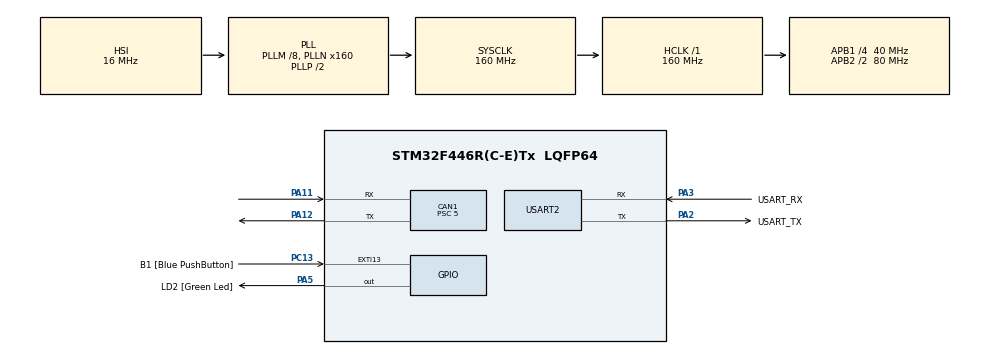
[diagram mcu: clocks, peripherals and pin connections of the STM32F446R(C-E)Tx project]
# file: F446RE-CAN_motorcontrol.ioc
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CAN1.BS1=CAN_BS1_5TQ
CAN1.BS2=CAN_BS2_2TQ
CAN1.CalculateBaudRate=1000000
CAN1.CalculateTimeBit=1000
CAN1.CalculateTimeQuantum=125.0
CAN1.Prescaler=5
Mcu.Family=STM32F4
Mcu.Name=STM32F446R(C-E)Tx
Mcu.Package=LQFP64
NVIC.CAN1_RX0_IRQn=true\:0\:0\:false\:false\:true\:true\:true\:true
NVIC.EXTI15_10_IRQn=true\:0\:0\:false\:false\:true\:true\:true\:true
NVIC.PriorityGroup=NVIC_PRIORITYGROUP_0
PA11.Mode=CAN_Activate
PA11.Signal=CAN1_RX
PA12.Mode=CAN_Activate
PA12.Signal=CAN1_TX
PA13.GPIO_Label=TMS
PA13.Mode=Serial_Wire
PA13.Signal=SYS_JTMS-SWDIO
PA14.GPIO_Label=TCK
PA14.Mode=Serial_Wire
PA14.Signal=SYS_JTCK-SWCLK
PA2.GPIO_Label=USART_TX
PA2.Mode=Asynchronous
PA2.Signal=USART2_TX
PA3.GPIO_Label=USART_RX
PA3.Mode=Asynchronous
PA3.Signal=USART2_RX
PA5.GPIO_Label=LD2 [Green Led]
PA5.Signal=GPIO_Output
PB3.GPIO_Label=SWO
PB3.Signal=SYS_JTDO-SWO
PC13.GPIO_Label=B1 [Blue PushButton]
PC13.GPIO_ModeDefaultEXTI=GPIO_MODE_IT_FALLING
PC13.Signal=GPXTI13
PC14-OSC32_IN.Mode=LSE-External-Oscillator
PC14-OSC32_IN.Signal=RCC_OSC32_IN
PC15-OSC32_OUT.Mode=LSE-External-Oscillator
PC15-OSC32_OUT.Signal=RCC_OSC32_OUT
PH0-OSC_IN.Mode=HSE-External-Oscillator
PH0-OSC_IN.Signal=RCC_OSC_IN
PH1-OSC_OUT.Mode=HSE-External-Oscillator
PH1-OSC_OUT.Signal=RCC_OSC_OUT
ProjectManager.HeapSize=0x200
ProjectManager.StackSize=0x400
ProjectManager.TargetToolchain=STM32CubeIDE
RCC.48MHZClocksFreq_Value=84000000
RCC.AHBFreq_Value=160000000
RCC.APB1CLKDivider=RCC_HCLK_DIV4
RCC.APB1Freq_Value=40000000
RCC.APB1TimFreq_Value=80000000
RCC.APB2CLKDivider=RCC_HCLK_DIV2
RCC.APB2Freq_Value=80000000
RCC.APB2TimFreq_Value=160000000
RCC.CortexFreq_Value=160000000
RCC.FLatency-AdvancedSettings=FLASH_LATENCY_5
RCC.HCLKFreq_Value=160000000
RCC.HSE_VALUE=8000000
RCC.HSI_VALUE=16000000
RCC.PLLM=8
RCC.PLLN=160
RCC.SYSCLKFreq_VALUE=160000000
RCC.SYSCLKSource=RCC_SYSCLKSOURCE_PLLCLK
RCC.USBFreq_Value=160000000
RCC.VCOOutputFreq_Value=320000000
USART2.VirtualMode=VM_ASYNC
board=NUCLEO-F446RE

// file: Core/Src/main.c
 /* USER CODE BEGIN Header */
/**
  ******************************************************************************
  * @file           : main.c
  * @brief          : Main program body
  ******************************************************************************
  * @attention
  *
  * Copyright (c) 2024 STMicroelectronics.
  * All rights reserved.
  *
  * This software is licensed under terms that can be found in the LICENSE file
  * in the root directory of this software component.
  * If no LICENSE file comes with this software, it is provided AS-IS.
  *
  ******************************************************************************
  */
/* USER CODE END Header */
#include "main.h"

/* USER CODE BEGIN PD */
#define CW 0x00
#define CCW 0x01
/* USER CODE END PD */

CAN_HandleTypeDef hcan1;

UART_HandleTypeDef huart2;

void SystemClock_Config(void);
static void MX_GPIO_Init(void);
static void MX_USART2_UART_Init(void);
static void MX_CAN1_Init(void);

/* USER CODE BEGIN 0 */

//CAN variables
CAN_RxHeaderTypeDef canRxHeader;
CAN_TxHeaderTypeDef canTxHeader;
CAN_FilterTypeDef canFilter1;
uint32_t TxMailBox;
uint8_t can1Rx0Data[8];
uint8_t can1Tx0Data[8];

uint8_t datacheck = 0;
uint8_t mode = 0;

//position, speed, torque, temperature variables
int16_t iqControl;  //closed loop torque
int32_t speedControl; //closed loop speed-0.01dps/LSB
uint8_t spinDirection; //cw(0x00), ccw(0x01)
uint32_t angleControl; //single loop angle control
int32_t multiAngleControl; // multi loop angle control

void torque_closedloop_control(uint8_t id, int32_t iqControl){
	canTxHeader.StdId = 0x140 + id;
	can1Tx0Data[0] = 0xA1;
	can1Tx0Data[1] = 0x00;
	can1Tx0Data[2] = 0x00;
	can1Tx0Data[3] = 0x00;
	can1Tx0Data[4] = *(uint8_t *)(&iqControl);
	can1Tx0Data[5] = *((uint8_t *)(&iqControl) + 1);
	can1Tx0Data[6] = 0x00;
	can1Tx0Data[7] = 0x00;
	HAL_CAN_AddTxMessage(&hcan1, &canTxHeader, can1Tx0Data, &TxMailBox);
}

void speed_closedloop_control(uint8_t id, int32_t speedControl){
	canTxHeader.StdId = 0x140 + id;
	can1Tx0Data[0] = 0xA2;
	can1Tx0Data[1] = 0x00;
	can1Tx0Data[2] = 0x00;
	can1Tx0Data[3] = 0x00;
	can1Tx0Data[4] = *(uint8_t *)(&speedControl);
	can1Tx0Data[5] = *((uint8_t *)(&speedControl) + 1);
	can1Tx0Data[6] = *((uint8_t *)(&speedControl) + 2);
	can1Tx0Data[7] = *((uint8_t *)(&speedControl) + 3);
	HAL_CAN_AddTxMessage(&hcan1, &canTxHeader, can1Tx0Data, &TxMailBox);
}

void singleloop_angle_control(uint8_t id, int32_t speedControl){
	canTxHeader.StdId = 0x140 + id;
	can1Tx0Data[0] = 0xA5;
	can1Tx0Data[1] = spinDirection;
	can1Tx0Data[2] = 0x00;
	can1Tx0Data[3] = 0x00;
	can1Tx0Data[4] = *(uint8_t *)(&angleControl);
	can1Tx0Data[5] = *((uint8_t *)(&angleControl) + 1);
	can1Tx0Data[6] = *((uint8_t *)(&angleControl) + 2);
	can1Tx0Data[7] = *((uint8_t *)(&angleControl) + 3);
	HAL_CAN_AddTxMessage(&hcan1, &canTxHeader, can1Tx0Data, &TxMailBox);
}

void singleloop_angle_read(uint8_t id, int32_t speedControl){
	canTxHeader.StdId = 0x140 + id;
	can1Tx0Data[0] = 0x94;
	can1Tx0Data[1] = 0x00;
	can1Tx0Data[2] = 0x00;
	can1Tx0Data[3] = 0x00;
	can1Tx0Data[4] = 0x00;
	can1Tx0Data[5] = 0x00;
	can1Tx0Data[6] = 0x00;
	can1Tx0Data[7] = 0x00;
	HAL_CAN_AddTxMessage(&hcan1, &canTxHeader, can1Tx0Data, &TxMailBox);
}

void multiloop_angle_control(uint8_t id, int32_t speedControl){
	canTxHeader.StdId = 0x140 + id;
	can1Tx0Data[0] = 0xA3;
	can1Tx0Data[1] = 0x00;
	can1Tx0Data[2] = 0x00;
	can1Tx0Data[3] = 0x00;
	can1Tx0Data[4] = *(uint8_t *)(&multiAngleControl);
	can1Tx0Data[5] = *((uint8_t *)(&multiAngleControl) + 1);
	can1Tx0Data[6] = *((uint8_t *)(&multiAngleControl) + 2);
	can1Tx0Data[7] = *((uint8_t *)(&multiAngleControl) + 3);
	HAL_CAN_AddTxMessage(&hcan1, &canTxHeader, can1Tx0Data, &TxMailBox);
}

void multiloop_angle_read(uint8_t id, int32_t speedControl){
	canTxHeader.StdId = 0x140 + id;
	can1Tx0Data[0] = 0x92;
	can1Tx0Data[1] = 0x00;
	can1Tx0Data[2] = 0x00;
	can1Tx0Data[3] = 0x00;
	can1Tx0Data[4] = 0x00;
	can1Tx0Data[5] = 0x00;
	can1Tx0Data[6] = 0x00;
	can1Tx0Data[7] = 0x00;
	HAL_CAN_AddTxMessage(&hcan1, &canTxHeader, can1Tx0Data, &TxMailBox);
}

void HAL_GPIO_EXTI_Callback(uint16_t GPIO_Pin){

	if(GPIO_Pin == B1_Pin){

		//change mode whether button is pressed 0->1->2 cyclic
		mode++;
		if (mode == 3){
			mode = 0;
		}

		if(mode%3 == 0){
			speed_closedloop_control(1, 0);
			//speed_closedloop_control(2, 0);
		}
		if(mode%3 == 1){
			speed_closedloop_control(1, 72000);
			//speed_closedloop_control(2, 0);
		}
		if(mode%3 == 2){
			speed_closedloop_control(1, 0);
			//speed_closedloop_control(2, 72000);
		}
	}
}

void HAL_CAN_RxFifo0MsgPendingCallback(CAN_HandleTypeDef *hcan)
{
	HAL_CAN_GetRxMessage(hcan, CAN_RX_FIFO0, &canRxHeader, can1Rx0Data);
	datacheck = 1;
}

/* USER CODE END 0 */

int main(void)
{

  /* MCU Configuration--------------------------------------------------------*/

  /* Reset of all peripherals, Initializes the Flash interface and the Systick. */
  HAL_Init();

  /* Configure the system clock */
  SystemClock_Config();

  /* Initialize all configured peripherals */
  MX_GPIO_Init();
  MX_USART2_UART_Init();
  MX_CAN1_Init();
  /* USER CODE BEGIN 2 */
  HAL_CAN_Start(&hcan1);  //start CAN

  HAL_CAN_ActivateNotification(&hcan1, CAN_IT_RX_FIFO0_MSG_PENDING); //activate notification for when FIFO 0 is pending

  canTxHeader.DLC = 8;  //Length of data
  canTxHeader.IDE = CAN_ID_STD; //standard id, as opposed to extended
  canTxHeader.RTR = CAN_RTR_DATA;
  canTxHeader.StdId = 0x140; //0x140+ ID(1~32)

  /* USER CODE END 2 */

  /* Infinite loop */
  while (1)
  {

    /* USER CODE BEGIN 3 */

	  // if message is received
	  if (datacheck){
		  //blink led
		  HAL_GPIO_WritePin(LD2_GPIO_Port, LD2_Pin, 1);
		  HAL_Delay(50);
		  HAL_GPIO_WritePin(LD2_GPIO_Port, LD2_Pin, 0);

		  //reconstruct encoder value
		  uint8_t highByte = can1Rx0Data[7];
		  uint8_t lowByte = can1Rx0Data[6];
		  uint16_t encoderVal = (highByte << 8) | lowByte;

		  //display data through uart
		  //HAL_UART_Transmit(&huart2, (uint8_t*)&encoderVal, sizeof(encoderVal), 10);
		  datacheck = 0;
	  }
  }
  /* USER CODE END 3 */
}

void SystemClock_Config(void)
{
  RCC_OscInitTypeDef RCC_OscInitStruct = {0};
  RCC_ClkInitTypeDef RCC_ClkInitStruct = {0};

  /** Configure the main internal regulator output voltage
  */
  __HAL_RCC_PWR_CLK_ENABLE();
  __HAL_PWR_VOLTAGESCALING_CONFIG(PWR_REGULATOR_VOLTAGE_SCALE1);

  /** Initializes the RCC Oscillators according to the specified parameters
  * in the RCC_OscInitTypeDef structure.
  */
  RCC_OscInitStruct.OscillatorType = RCC_OSCILLATORTYPE_HSI;
  RCC_OscInitStruct.HSIState = RCC_HSI_ON;
  RCC_OscInitStruct.HSICalibrationValue = RCC_HSICALIBRATION_DEFAULT;
  RCC_OscInitStruct.PLL.PLLState = RCC_PLL_ON;
  RCC_OscInitStruct.PLL.PLLSource = RCC_PLLSOURCE_HSI;
  RCC_OscInitStruct.PLL.PLLM = 8;
  RCC_OscInitStruct.PLL.PLLN = 160;
  RCC_OscInitStruct.PLL.PLLP = RCC_PLLP_DIV2;
  RCC_OscInitStruct.PLL.PLLQ = 2;
  RCC_OscInitStruct.PLL.PLLR = 2;
  if (HAL_RCC_OscConfig(&RCC_OscInitStruct) != HAL_OK)
  {
    Error_Handler();
  }

  /** Initializes the CPU, AHB and APB buses clocks
  */
  RCC_ClkInitStruct.ClockType = RCC_CLOCKTYPE_HCLK|RCC_CLOCKTYPE_SYSCLK
                              |RCC_CLOCKTYPE_PCLK1|RCC_CLOCKTYPE_PCLK2;
  RCC_ClkInitStruct.SYSCLKSource = RCC_SYSCLKSOURCE_PLLCLK;
  RCC_ClkInitStruct.AHBCLKDivider = RCC_SYSCLK_DIV1;
  RCC_ClkInitStruct.APB1CLKDivider = RCC_HCLK_DIV4;
  RCC_ClkInitStruct.APB2CLKDivider = RCC_HCLK_DIV2;

  if (HAL_RCC_ClockConfig(&RCC_ClkInitStruct, FLASH_LATENCY_5) != HAL_OK)
  {
    Error_Handler();
  }
}

static void MX_CAN1_Init(void)
{

  hcan1.Instance = CAN1;
  hcan1.Init.Prescaler = 5;
  hcan1.Init.Mode = CAN_MODE_NORMAL;
  hcan1.Init.SyncJumpWidth = CAN_SJW_1TQ;
  hcan1.Init.TimeSeg1 = CAN_BS1_5TQ;
  hcan1.Init.TimeSeg2 = CAN_BS2_2TQ;
  hcan1.Init.TimeTriggeredMode = DISABLE;
  hcan1.Init.AutoBusOff = DISABLE;
  hcan1.Init.AutoWakeUp = DISABLE;
  hcan1.Init.AutoRetransmission = DISABLE;
  hcan1.Init.ReceiveFifoLocked = DISABLE;
  hcan1.Init.TransmitFifoPriority = DISABLE;
  if (HAL_CAN_Init(&hcan1) != HAL_OK)
  {
    Error_Handler();
  }
  /* USER CODE BEGIN CAN1_Init 2 */
  CAN_FilterTypeDef canfilterconfig;

  canfilterconfig.FilterActivation = CAN_FILTER_ENABLE;
  canfilterconfig.FilterMaskIdHigh = 0x7f0 << 5;
  canfilterconfig.FilterIdHigh = 0x140 << 5;
  canfilterconfig.FilterMaskIdLow = 0x7f0 << 5;
  canfilterconfig.FilterIdLow = 0x140 << 5;
  canfilterconfig.FilterFIFOAssignment = CAN_FILTER_FIFO0;
  canfilterconfig.FilterBank = 0;
  canfilterconfig.FilterMode = CAN_FILTERMODE_IDMASK;
  canfilterconfig.FilterScale = CAN_FILTERSCALE_16BIT;

  HAL_CAN_ConfigFilter(&hcan1, &canfilterconfig);

  /* USER CODE END CAN1_Init 2 */

}

static void MX_USART2_UART_Init(void)
{

  huart2.Instance = USART2;
  huart2.Init.BaudRate = 115200;
  huart2.Init.WordLength = UART_WORDLENGTH_8B;
  huart2.Init.StopBits = UART_STOPBITS_1;
  huart2.Init.Parity = UART_PARITY_NONE;
  huart2.Init.Mode = UART_MODE_TX_RX;
  huart2.Init.HwFlowCtl = UART_HWCONTROL_NONE;
  huart2.Init.OverSampling = UART_OVERSAMPLING_16;
  if (HAL_UART_Init(&huart2) != HAL_OK)
  {
    Error_Handler();
  }

}

static void MX_GPIO_Init(void)
{
  GPIO_InitTypeDef GPIO_InitStruct = {0};

  /* GPIO Ports Clock Enable */
  __HAL_RCC_GPIOC_CLK_ENABLE();
  __HAL_RCC_GPIOH_CLK_ENABLE();
  __HAL_RCC_GPIOA_CLK_ENABLE();
  __HAL_RCC_GPIOB_CLK_ENABLE();

  /*Configure GPIO pin Output Level */
  HAL_GPIO_WritePin(LD2_GPIO_Port, LD2_Pin, GPIO_PIN_RESET);

  /*Configure GPIO pin : B1_Pin */
  GPIO_InitStruct.Pin = B1_Pin;
  GPIO_InitStruct.Mode = GPIO_MODE_IT_FALLING;
  GPIO_InitStruct.Pull = GPIO_NOPULL;
  HAL_GPIO_Init(B1_GPIO_Port, &GPIO_InitStruct);

  /*Configure GPIO pin : LD2_Pin */
  GPIO_InitStruct.Pin = LD2_Pin;
  GPIO_InitStruct.Mode = GPIO_MODE_OUTPUT_PP;
  GPIO_InitStruct.Pull = GPIO_NOPULL;
  GPIO_InitStruct.Speed = GPIO_SPEED_FREQ_LOW;
  HAL_GPIO_Init(LD2_GPIO_Port, &GPIO_InitStruct);

  /* EXTI interrupt init*/
  HAL_NVIC_SetPriority(EXTI15_10_IRQn, 0, 0);
  HAL_NVIC_EnableIRQ(EXTI15_10_IRQn);

}

void Error_Handler(void)
{
  __disable_irq();
  while (1)
  {
  }
}
